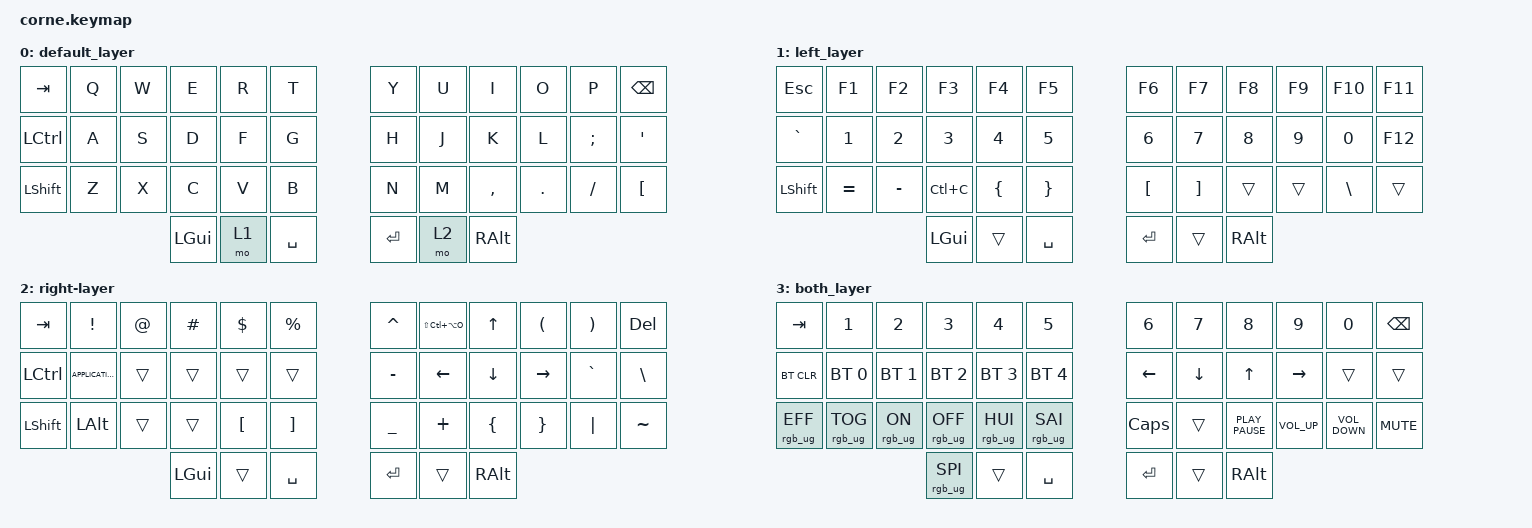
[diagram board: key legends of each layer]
/*
 * Copyright (c) 2020 The ZMK Contributors
 *
 * SPDX-License-Identifier: MIT
 */

#include <behaviors.dtsi>
#include <dt-bindings/zmk/bt.h>
#include <dt-bindings/zmk/keys.h>
#include <dt-bindings/zmk/rgb.h>

/ {
    combos {
        compatible = "zmk,combos";

        control {
            bindings = <&kp LEFT_CONTROL>;
            key-positions = <24 36>;
        };
    };

    keymap {
        compatible = "zmk,keymap";

        default_layer {
            // -----------------------------------------------------------------------------------------
            // |  TAB |  Q  |  W  |  E  |  R  |  T  |   |  Y  |  U   |  I  |  O  |  P  | BKSP |
            // | CTRL |  A  |  S  |  D  |  F  |  G  |   |  H  |  J   |  K  |  L  |  ;  |  '   |
            // | SHFT |  Z  |  X  |  C  |  V  |  B  |   |  N  |  M   |  ,  |  .  |  /  | ESC  |
            //                    | GUI | LWR | SPC |   | ENT | RSE  | ALT |

            bindings = <
&kp TAB           &kp Q  &kp W  &kp E     &kp R  &kp T        &kp Y    &kp U  &kp I      &kp O    &kp P     &kp BACKSPACE
&kp LEFT_CONTROL  &kp A  &kp S  &kp D     &kp F  &kp G        &kp H    &kp J  &kp K      &kp L    &kp SEMI  &kp SQT
&kp LSHFT         &kp Z  &kp X  &kp C     &kp V  &kp B        &kp N    &kp M  &kp COMMA  &kp DOT  &kp FSLH  &kp LEFT_BRACKET
                                &kp LGUI  &mo 1  &kp SPACE    &kp RET  &mo 2  &kp RALT
            >;
        };

        left_layer {
            bindings = <
&kp ESC    &kp F1     &kp F2     &kp F3     &kp F4          &kp F5             &kp F6            &kp F7             &kp F8    &kp F9  &kp F10        &kp F11
&kp GRAVE  &kp N1     &kp N2     &kp N3     &kp N4          &kp N5             &kp N6            &kp N7             &kp N8    &kp N9  &kp N0         &kp F12
&kp LSHFT  &kp EQUAL  &kp MINUS  &kp LC(C)  &kp LEFT_BRACE  &kp RIGHT_BRACE    &kp LEFT_BRACKET  &kp RIGHT_BRACKET  &trans    &trans  &kp BACKSLASH  &trans
                                 &kp LGUI   &trans          &kp SPACE          &kp ENTER         &trans             &kp RALT
            >;
        };

        right-layer {
            // -----------------------------------------------------------------------------------------
            // |  TAB |  !  |  @  |  #  |  $  |  %  |   |  ^  |  &  |  *  |  (  |  )  | BKSP |
            // | CTRL |     |     |     |     |     |   |  -  |  =  |  [  |  ]  |  \  |  `   |
            // | SHFT |     |     |     |     |     |   |  _  |  +  |  {  |  }  | "|" |  ~   |
            //                    | GUI |     | SPC |   | ENT |     | ALT |

            bindings = <
&kp TAB    &kp EXCL           &kp AT  &kp HASH  &kp DLLR  &kp PRCNT            &kp CARET  &kp LS(LC(LA(O)))  &kp UP_ARROW    &kp LPAR         &kp RPAR   &kp DEL
&kp LCTRL  &kp K_APPLICATION  &trans  &trans    &trans    &trans               &kp MINUS  &kp LEFT_ARROW     &kp DOWN_ARROW  &kp RIGHT_ARROW  &kp GRAVE  &kp BACKSLASH
&kp LSHFT  &kp LEFT_ALT       &trans  &trans    &kp LBKT  &kp RIGHT_BRACKET    &kp UNDER  &kp PLUS           &kp LBRC        &kp RBRC         &kp PIPE   &kp TILDE
                                      &kp LGUI  &trans    &kp SPACE            &kp RET    &trans             &kp RALT
            >;
        };

        both_layer {
            // -----------------------------------------------------------------------------------------
            // |  TAB |  1  |  2  |  3  |  4  |  5  |   |  6  |  7  |  8  |  9  |  0  | BKSP |
            // | BTCLR| BT1 | BT2 | BT3 | BT4 | BT5 |   | LFT | DWN |  UP | RGT |     |      |
            // | SHFT |     |     |     |     |     |   |     |     |     |     |     |      |
            //                    | GUI |     | SPC |   | ENT |     | ALT |

            bindings = <
&kp TAB          &kp N1           &kp N2          &kp N3           &kp N4           &kp N5             &kp N6    &kp N7    &kp N8            &kp N9        &kp N0             &kp BSPC
&bt BT_CLR       &bt BT_SEL 0     &bt BT_SEL 1    &bt BT_SEL 2     &bt BT_SEL 3     &bt BT_SEL 4       &kp LEFT  &kp DOWN  &kp UP            &kp RIGHT     &trans             &trans
&rgb_ug RGB_EFF  &rgb_ug RGB_TOG  &rgb_ug RGB_ON  &rgb_ug RGB_OFF  &rgb_ug RGB_HUI  &rgb_ug RGB_SAI    &kp CAPS  &trans    &kp K_PLAY_PAUSE  &kp C_VOL_UP  &kp C_VOLUME_DOWN  &kp K_MUTE
                                                  &rgb_ug RGB_SPI  &trans           &kp SPACE          &kp RET   &trans    &kp RALT
            >;
        };
    };

    conditional_layers {
        compatible = "zmk,conditional-layers";

        both {
            if-layers = <1 2>;
            then-layer = <3>;
        };
    };
};
